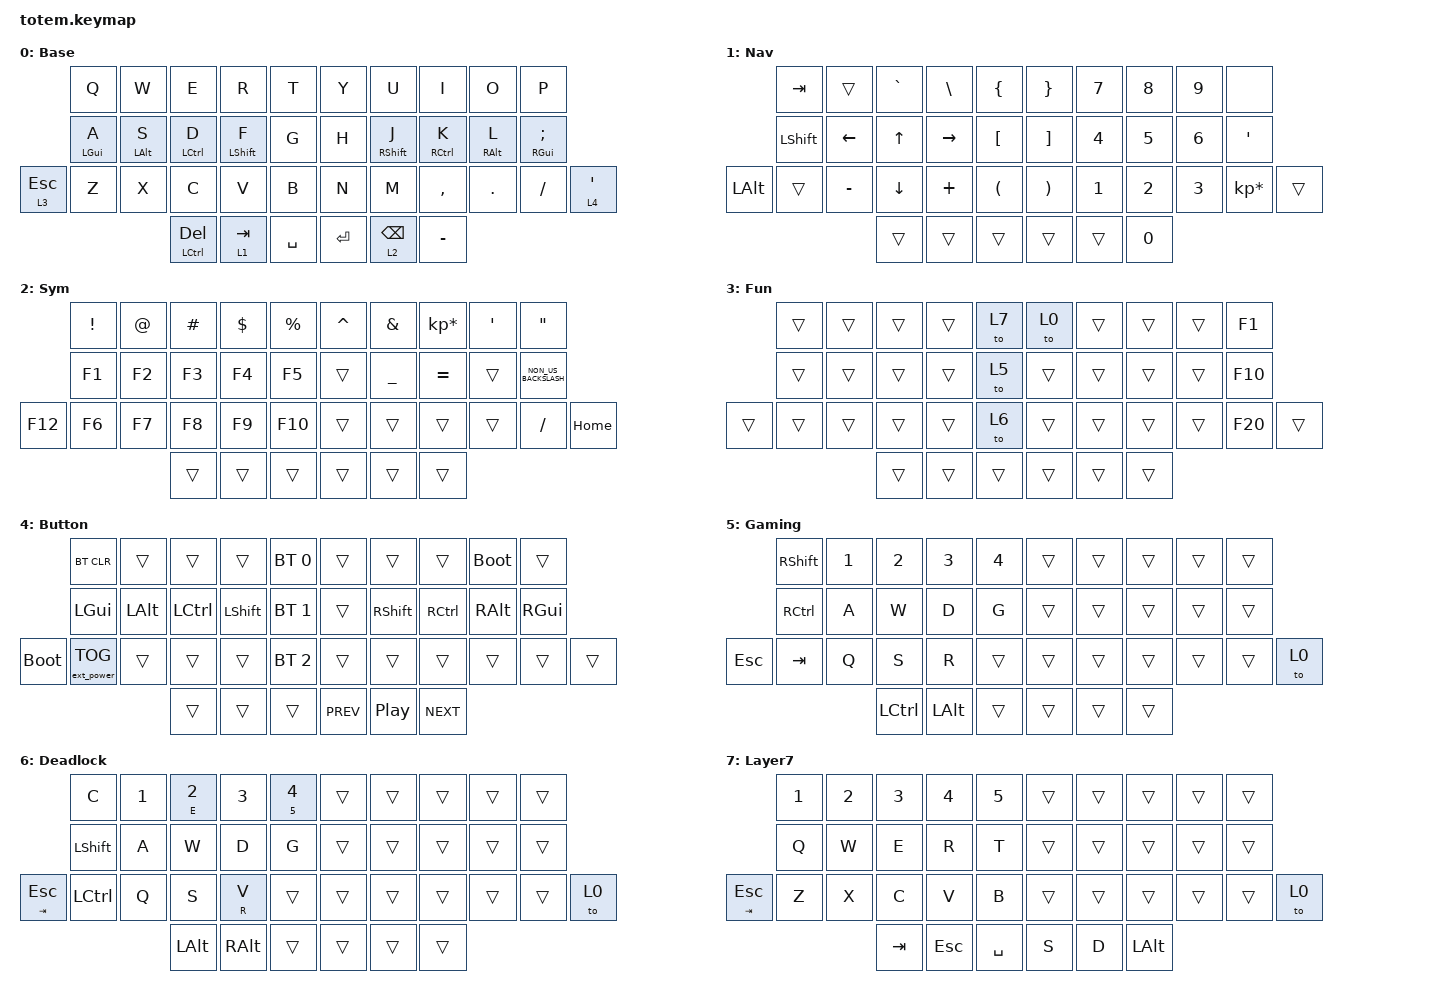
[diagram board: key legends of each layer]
//
//                                                        ▀▀▀▀▀     ▀▀▀▀▀          ▀▀█▀▀
//                                                        ▄▀▀▀▄  ▄  ▄▀▀▀▄  ▄  ▄▀▀▀▄  █  ▄▀▀▀▄
//                                                        █   █  █  █   █  █  █   █  █  █   █
//                                                         ▀▀▀   █   ▀▀▀   █   ▀▀▀   ▀   ▀▀▀
//                                                               █      ▄▄▄█▄▄▄    █   █  
//                                                               ▀      █  █  █     █▄█
//                                                             ▀▀▀▀▀    █  █  █      ▀
//                                                                      ▀  ▀  ▀
//
// ▄▄▄▄▄▄▄▄▄▄▄▄▄▄▄▄▄▄▄▄▄▄▄▄▄▄▄▄▄▄▄▄▄▄▄▄▄▄▄▄▄▄▄▄▄▄▄▄▄▄▄▄▄▄▄▄▄▄▄▄▄▄▄▄▄▄▄▄▄▄▄▄▄▄▄▄▄▄▄▄▄▄▄▄▄▄▄▄▄▄▄▄▄▄▄▄▄▄▄▄▄▄▄▄▄▄▄▄▄▄▄▄▄▄▄▄▄▄▄▄▄▄▄▄▄▄▄▄▄▄▄▄▄▄▄▄▄▄▄▄▄▄▄▄▄▄▄▄▄

#include <behaviors.dtsi>
#include <dt-bindings/zmk/bt.h>
#include <dt-bindings/zmk/ext_power.h>
#include <dt-bindings/zmk/keys.h>

#define Base     0
#define Nav      1
#define Sym      2
#define Fun      3
#define Button   4
#define Game     5
#define Deadlock 6
#define Layer7   7

&mt {
    quick-tap-ms = <100>;
    global-quick-tap;
    flavor = "tap-preferred";
    tapping-term-ms = <170>;
};

&lt {
    tapping-term-ms = <240>;
    flavor = "balanced";
    quick-tap-ms = <150>;
};

/ {
    behaviors {
        hm: homerow_mods {
            compatible = "zmk,behavior-hold-tap";
            label = "HOMEROW_MODS";
            #binding-cells = <2>;
            flavor = "tap-preferred";
            tapping-term-ms = <200>;
            quick-tap-ms = <125>;
            global-quick-tap;
            bindings = <&kp>, <&kp>;
        };
    };

    combos {
        compatible = "zmk,combos";

        copy {
            bindings = <&kp LC(C)>;
            key-positions = <23 32>;
        };

        ppaste {
            bindings = <&kp LC(V)>;
            key-positions = <24 32>;
        };

        mark {
            bindings = <&kp LC(A)>;
            key-positions = <10 32>;
        };

        del {
            bindings = <&kp LC(X)>;
            key-positions = <22 32>;
        };

        undo {
            bindings = <&kp LC(Z)>;
            key-positions = <32 21>;
        };

        searchIntelliJ {
            bindings = <&kp RS(LEFT_SHIFT)>;
            key-positions = <13 16>;
        };
    };

    keymap {
        compatible = "zmk,keymap";

        Base {
            display-name = "Base";
            bindings = <
              &kp Q       &kp W       &kp E          &kp R         &kp T        &kp Y    &kp U        &kp I        &kp O       &kp P
              &hm LGUI A  &hm LALT S  &hm LCTRL D    &hm LSHIFT F  &kp G        &kp H    &hm RSHFT J  &hm RCTRL K  &hm RALT L  &hm RGUI SEMICOLON
&lt 3 ESCAPE  &kp Z       &kp X       &kp C          &kp V         &kp B        &kp N    &kp M        &kp COMMA    &kp DOT     &kp SLASH           &lt 4 APOSTROPHE
                                      &mt LCTRL DEL  &lt 1 TAB     &kp SPACE    &kp RET  &lt 2 BSPC   &kp MINUS
            >;
        };

        Nav {
            display-name = "Nav";
            bindings = <
              &kp TAB         &trans     &kp GRAVE     &kp BACKSLASH  &kp LBRC    &kp RBRC  &kp NUMBER_7  &kp NUMBER_8  &kp NUMBER_9  &none
              &kp LEFT_SHIFT  &kp LEFT   &kp UP_ARROW  &kp RIGHT      &kp LBKT    &kp RBKT  &kp NUMBER_4  &kp NUMBER_5  &kp NUMBER_6  &kp APOSTROPHE
&kp LEFT_ALT  &trans          &kp MINUS  &kp DOWN      &kp PLUS       &kp LPAR    &kp RPAR  &kp NUMBER_1  &kp NUMBER_2  &kp NUMBER_3  &kp KP_MULTIPLY  &trans
                                         &trans        &trans         &trans      &trans    &trans        &kp NUMBER_0
            >;
        };

        Sym {
            display-name = "Sym";
            bindings = <
         &kp EXCL  &kp AT  &kp HASH  &kp DOLLAR  &kp PERCENT    &kp CARET  &kp AMPERSAND  &kp KP_ASTERISK  &kp SQT  &kp DQT
         &kp F1    &kp F2  &kp F3    &kp F4      &kp F5         &trans     &kp UNDER      &kp EQUAL        &trans   &kp NON_US_BACKSLASH
&kp F12  &kp F6    &kp F7  &kp F8    &kp F9      &kp F10        &trans     &trans         &trans           &trans   &kp SLASH             &kp HOME
                           &trans    &trans      &trans         &trans     &trans         &trans
            >;
        };

        Fun {
            display-name = "Fun";
            bindings = <
        &trans  &trans  &trans  &trans  &to 7     &to 0   &trans  &trans  &trans  &kp F1
        &trans  &trans  &trans  &trans  &to 5     &trans  &trans  &trans  &trans  &kp F10
&trans  &trans  &trans  &trans  &trans  &to 6     &trans  &trans  &trans  &trans  &kp F20  &trans
                        &trans  &trans  &trans    &trans  &trans  &trans
            >;
        };

        Button {
            display-name = "Button";
            bindings = <
             &bt BT_CLR         &trans    &trans     &trans      &bt BT_SEL 0    &trans      &trans            &trans      &bootloader  &trans
             &kp LGUI           &kp LALT  &kp LCTRL  &kp LSHIFT  &bt BT_SEL 1    &trans      &kp RSHIFT        &kp RCTRL   &kp RALT     &kp RGUI
&bootloader  &ext_power EP_TOG  &trans    &trans     &trans      &bt BT_SEL 2    &trans      &trans            &trans      &trans       &trans    &trans
                                          &trans     &trans      &trans          &kp C_PREV  &kp C_PLAY_PAUSE  &kp C_NEXT
            >;
        };

        Gaming {
            display-name = "Gaming";
            bindings = <
            &kp RIGHT_SHIFT  &kp NUMBER_1  &kp NUMBER_2  &kp NUMBER_3  &kp NUMBER_4    &trans  &trans  &trans  &trans  &trans
            &kp RCTRL        &kp A         &kp W         &kp D         &kp G           &trans  &trans  &trans  &trans  &trans
&kp ESCAPE  &kp TAB          &kp Q         &kp S         &kp R         &trans          &trans  &trans  &trans  &trans  &trans  &to 0
                                           &kp LCTRL     &kp LEFT_ALT  &trans          &trans  &trans  &trans
            >;
        };

        deadlock {
            display-name = "Deadlock";
            bindings = <
                &kp C       &kp NUMBER_1  &mt E NUMBER_2  &kp NUMBER_3   &mt N5 NUMBER_4    &trans  &trans  &trans  &trans  &trans
                &kp LSHIFT  &kp A         &kp W           &kp D          &kp G              &trans  &trans  &trans  &trans  &trans
&mt TAB ESCAPE  &kp LCTRL   &kp Q         &kp S           &mt R V        &trans             &trans  &trans  &trans  &trans  &trans  &to 0
                                          &kp LEFT_ALT    &kp RIGHT_ALT  &trans             &trans  &trans  &trans
            >;
        };

        layer_7 {
            display-name = "Layer7";
            bindings = <
                &kp N1  &kp N2  &kp N3   &kp N4   &kp N5       &trans  &trans  &trans    &trans  &trans
                &kp Q   &kp W   &kp E    &kp R    &kp T        &trans  &trans  &trans    &trans  &trans
&mt TAB ESCAPE  &kp Z   &kp X   &kp C    &kp V    &kp B        &trans  &trans  &trans    &trans  &trans  &to 0
                                &kp TAB  &kp ESC  &kp SPACE    &kp S   &kp D   &kp LALT
            >;
        };
    };
};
